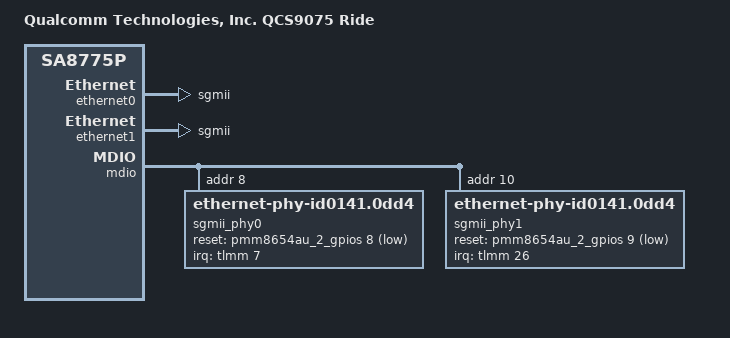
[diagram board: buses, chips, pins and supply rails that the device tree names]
// SPDX-License-Identifier: BSD-3-Clause
/*
 * Copyright (c) 2024, Qualcomm Innovation Center, Inc. All rights reserved.
 */
/dts-v1/;

#include "sa8775p-ride.dtsi"

/ {
	model = "Qualcomm Technologies, Inc. QCS9075 Ride";
	compatible = "qcom,qcs9075-ride", "qcom,qcs9075", "qcom,sa8775p";
};

&ethernet0 {
	phy-mode = "sgmii";
};

&ethernet1 {
	phy-mode = "sgmii";
};

&mdio {
	compatible = "snps,dwmac-mdio";
	#address-cells = <1>;
	#size-cells = <0>;

	sgmii_phy0: phy@8 {
		compatible = "ethernet-phy-id0141.0dd4";
		reg = <0x8>;
		device_type = "ethernet-phy";
		interrupts-extended = <&tlmm 7 IRQ_TYPE_EDGE_FALLING>;
		reset-gpios = <&pmm8654au_2_gpios 8 GPIO_ACTIVE_LOW>;
		reset-assert-us = <11000>;
		reset-deassert-us = <70000>;
	};

	sgmii_phy1: phy@a {
		compatible = "ethernet-phy-id0141.0dd4";
		reg = <0xa>;
		device_type = "ethernet-phy";
		interrupts-extended = <&tlmm 26 IRQ_TYPE_EDGE_FALLING>;
		reset-gpios = <&pmm8654au_2_gpios 9 GPIO_ACTIVE_LOW>;
		reset-assert-us = <11000>;
		reset-deassert-us = <70000>;
	};
};
